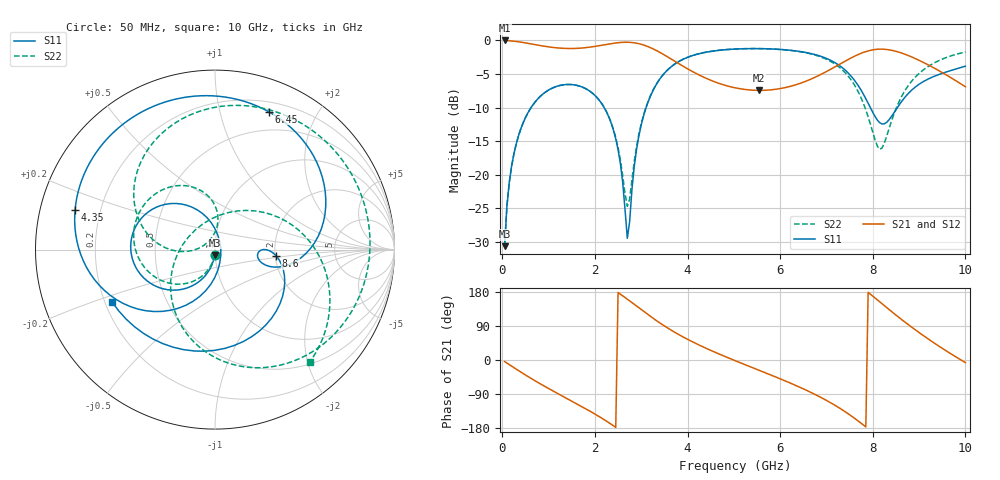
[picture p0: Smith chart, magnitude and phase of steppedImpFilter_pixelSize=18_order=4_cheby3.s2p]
! freq	dB(S11)	phase(S11)	dB(S12)	phase(S12)
!  dB(S21)	phase(S21)	dB(S22)	phase(S22)
!S-par simulation data
#  GHz  S  DB  R 50
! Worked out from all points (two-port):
!   200 points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, 50 MHz to 10 GHz, reference 50 ohm
!   highest |S21| = -0.01 dB at 50 MHz (marker M1); lowest = -7.4 dB at 5.55 GHz (marker M2)
!   |S21| within 3 dB of the highest: start of sweep to 3.703 GHz; 7.424 GHz to 9.014 GHz (1.59 GHz wide, 19.3 % of centre)
!   lowest |S11| = -30.6 dB at 50 MHz (marker M3), VSWR 1.06, Z = 49.7 - j2.93 ohm
!   |S11| at or under -10 dB: start of sweep to 621.1 MHz; 2.2 GHz to 3.105 GHz (905 MHz wide, 34.1 % of centre); 7.948 GHz to 8.53 GHz (582.4 MHz wide, 7.07 % of centre)
!   |S22| runs from -30.6 to -1.2 dB; largest |S21 - S12| = 0
!   S11 on the Smith chart (normalised r, x): 50 MHz: 0.99, -0.06; 4.35 GHz: 0.11, +0.14; 6.45 GHz: 0.30, +1.42; 8.6 GHz: 2.03, -0.16; 10 GHz: 0.23, -0.23
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0.05  -30.61 -93.8  -0.01 -4.1  -0.01 -4.1  -30.61 -94.6
0.2  -18.75 -105.2  -0.08 -16.2  -0.08 -16.2  -18.76 -108.2
0.5  -11.49 -126.3  -0.37 -39.5  -0.37 -39.5  -11.50 -133.8
1.1  -7.03 -164.4  -1.05 -82.0  -1.05 -82.0  -7.04 179.3
1.75  -7.01 157.0  -1.11 -125.1  -1.11 -125.1  -7.01 132.4
2.4  -13.35 109.5  -0.43 -173.5  -0.43 -173.5  -13.21 87.3
2.7  -29.45 16.2  -0.27 160.5  -0.27 160.5  -24.69 128.1
2.95  -14.19 -97.0  -0.49 137.6  -0.49 137.6  -13.92 -177.1
3.4  -5.77 -138.6  -1.77 97.9  -1.77 97.9  -5.74 150.4
4.35  -1.82 164.0  -5.48 33.8  -5.48 33.8  -1.81 82.0
5.05  -1.28 132.5  -7.08 -2.9  -7.08 -2.9  -1.27 41.6
5.55  -1.22 111.0  -7.44 -27.3  -7.44 -27.3  -1.22 15.2
6.45  -1.67 68.8  -6.34 -73.3  -6.34 -73.3  -1.71 -31.9
6.7  -2.01 55.2  -5.65 -87.7  -5.65 -87.7  -2.08 -46.1
7.25  -3.59 21.1  -3.68 -124.4  -3.68 -124.4  -3.85 -82.3
7.7  -6.87 -8.4  -2.05 -162.2  -2.05 -162.2  -7.84 -124.0
8.15  -12.25 -11.2  -1.30 153.5  -1.30 153.5  -16.19 134.7
8.35  -11.82 -0.6  -1.40 133.4  -1.40 133.4  -13.16 70.1
8.6  -9.30 -5.8  -1.83 108.9  -1.83 108.9  -8.64 31.9
9  -6.53 -40.0  -2.96 72.4  -2.96 72.4  -4.91 -1.3
9.45  -5.02 -90.1  -4.59 34.8  -4.59 34.8  -2.93 -26.4
10  -3.84 -152.9  -6.89 -6.7  -6.89 -6.7  -1.73 -49.9
